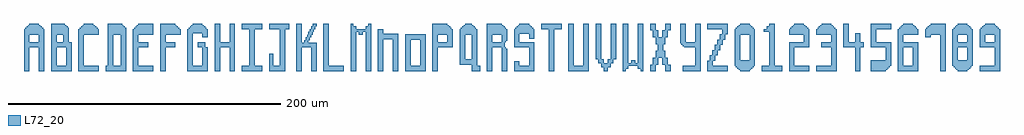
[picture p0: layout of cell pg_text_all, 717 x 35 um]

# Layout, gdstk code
import gdstk
lib = gdstk.Library(unit=1e-6, precision=1e-09)
def R(c, l, rs):  # rectangles x0, y0, x1, y1
    for r in rs: c.add(gdstk.rectangle(r[:2], r[2:], *l))
def A(c, l, x, y, w, h, nx, ny, dx, dy):  # array of equal rectangles
    R(c, l, [(x+i*dx, y+j*dy, x+i*dx+w, y+j*dy+h) for i in range(nx) for j in range(ny)])
def P(c, l, *ps):  # polygons
    for p in ps: c.add(gdstk.Polygon(p, *l))
L72_20 = (72, 20)

pg_text_c = lib.new_cell('pg_text_C')
R(pg_text_c, L72_20, [(0,0,15,4), (0,4,4,27), (0,27,15,31), (1,31,14,32), (2,32,13,33), (3,33,12,34), (4,34,11,35)])

pg_text_d = lib.new_cell('pg_text_D')
R(pg_text_d, L72_20, [(0,0,15,4), (1.5,4,5.5,27), (11,4,15,27), (1.5,27,15,31), (1.5,27,15,32), (1.5,32,14,33), (1.5,33,13,34), (1.5,34,12,35)])

pg_text_e = lib.new_cell('pg_text_E')
R(pg_text_e, L72_20, [(0,0,15,4), (0,4,4,27), (4,17.5,11.25,21.5), (0,27,15,31), (1,31,15,32), (2,32,15,33), (3,33,15,34), (4,34,15,35)])

pg_text_f = lib.new_cell('pg_text_F')
R(pg_text_f, L72_20, [(0,0,4,27), (4,17.5,11.25,21.5), (0,27,15,31), (0,31,14,32), (0,32,13,33), (0,33,12,34), (0,34,11,35)])

pg_text_g = lib.new_cell('pg_text_G')
R(pg_text_g, L72_20, [(0,0,15,4), (0,4,4,28), (11,4,15,17.5), (7.5,17.5,13,21.5), (11,25,15,28), (0,28,15,31), (1,31,14,32), (2,32,13,33), (3,33,12,34), (4,34,11,35)])

pg_text_h = lib.new_cell('pg_text_H')
R(pg_text_h, L72_20, [(0,0,4,35), (11,0,15,35), (4,17.5,11,21.5)])

pg_text_i = lib.new_cell('pg_text_I')
R(pg_text_i, L72_20, [(0,0,15,4), (5.5,4,9.5,31), (0,31,15,35)])

pg_text_j = lib.new_cell('pg_text_J')
R(pg_text_j, L72_20, [(0,0,8,4), (8,0,12,31), (0,4,3,13), (0,31,15,35)])

pg_text_k = lib.new_cell('pg_text_K')
R(pg_text_k, L72_20, [(0,0,4,35), (11,0,15,17.5), (4,17.5,15,21), (6,21,9,23), (7,23,10,25), (8,25,11,27), (9,27,12,29), (10,29,13,31), (11,31,14,33), (12,33,15,35)])

pg_text_l = lib.new_cell('pg_text_L')
R(pg_text_l, L72_20, [(0,0,4,35), (4,0,15,4)])

pg_text_m = lib.new_cell('pg_text_M')
R(pg_text_m, L72_20, [(6,27,9,29), (4,29,11,31)])
P(pg_text_m, L72_20, [(4,0),(0,0),(0,35),(2,35),(2,33),(4,33)],
  [(15,35),(13,35),(13,33),(11,33),(11,0),(15,0)])

pg_text_n = lib.new_cell('pg_text_N')
R(pg_text_n, L72_20, [(0,0,4,31), (11,0,15,27.5), (4,23.5,11,27.5)])

pg_text_o = lib.new_cell('pg_text_O')
R(pg_text_o, L72_20, [(0,0,4,27.16), (4,0,11,4), (11,0,15,27.16), (4,23.16,11,27.16)])

pg_text_p = lib.new_cell('pg_text_P')
R(pg_text_p, L72_20, [(0,0,4,27), (4,17.5,15,21.5), (11,21.5,15,27), (0,27,15,31), (0,31,14,32), (0,32,13,33), (0,33,12,34), (0,34,11,35)])

pg_text_q = lib.new_cell('pg_text_Q')
R(pg_text_q, L72_20, [(9,0,13,27), (13,0,15,4), (0,5,9,9), (0,9,4,27), (0,27,13,31), (1,31,12,32), (2,32,11,33), (3,33,10,34), (4,34,9,35)])

pg_text_r = lib.new_cell('pg_text_R')
R(pg_text_r, L72_20, [(0,0,4,27), (11,0,15,16.5), (11,16.5,14,17.5), (4,17.5,13,21.5), (11,21.5,14,22.5), (11,22.5,15,27), (0,27,15,31), (0,31,14,32), (0,32,13,33), (0,33,12,34), (0,34,11,35)])

pg_text_s = lib.new_cell('pg_text_S')
R(pg_text_s, L72_20, [(0,0,15,4), (0,4,4,7.5), (11,4,15,17.5), (0,17.5,15,21.5), (0,21.5,4,27.5), (11,24,15,27.5), (0,27.5,15,31), (1,31,14,32), (2,32,13,33), (3,33,12,34), (4,34,11,35)])

pg_text_t = lib.new_cell('pg_text_T')
R(pg_text_t, L72_20, [(5.5,0,9.5,31), (0,31,15,35)])

pg_text_u = lib.new_cell('pg_text_U')
R(pg_text_u, L72_20, [(0,0,4,35), (4,0,11,4), (11,0,15,35)])

pg_text_v = lib.new_cell('pg_text_V')
R(pg_text_v, L72_20, [(6,0,9,3), (4,3,11,6), (2,6,6,9), (9,6,13,9), (11,9,15,35)])
P(pg_text_v, L72_20, [(4,35),(0,35),(0,9),(3.99,9),(3.99,19.5),(4,19.5)])

pg_text_w = lib.new_cell('pg_text_W')
R(pg_text_w, L72_20, [(4,4,11,6), (6,6,9,8)])
P(pg_text_w, L72_20, [(4,35),(0,35),(0,0),(2,0),(2,2),(4,2)],
  [(15,35),(11,35),(11,2),(13,2),(13,0),(15,0)])

pg_text_x = lib.new_cell('pg_text_X')
R(pg_text_x, L72_20, [(0,0,4,5), (11,0,15,5), (2,5,6,10), (9,5,13,10), (4,10,11,15), (5.5,15,9.5,20), (4,20,11,25), (2,25,6,30), (9,25,13,30), (0,30,4,35), (11,30,15,35)])

pg_text_y = lib.new_cell('pg_text_Y')
R(pg_text_y, L72_20, [(2,0,11,4), (11,0,15,35), (3,17.5,11,18.5), (2,18.5,11,19.5), (1,19.5,11,20.5), (0,20.5,11,21.5), (0,21.5,4,35)])

pg_text_z = lib.new_cell('pg_text_Z')
R(pg_text_z, L72_20, [(0,0,15,4), (0,4,4,7.86), (1.83,7.86,5.835,11.72), (3.66,11.72,7.665,15.58), (5.49,15.58,9.495,19.44), (7.32,19.44,11.325,23.3), (9.15,23.3,13.155,27.16), (10.98,27.16,15,31), (0,31,15,35)])

pg_text_0 = lib.new_cell('pg_text_0')
R(pg_text_0, L72_20, [(4,0,11,1), (3,1,12,2), (2,2,13,3), (1,3,14,4), (0,4,15,8), (0,8,4,27), (11,8,15,27), (0,27,15,31), (1,31,14,32), (2,32,13,33), (3,33,12,34), (4,34,11,35)])

pg_text_1 = lib.new_cell('pg_text_1')
R(pg_text_1, L72_20, [(0,0,15,4), (5.5,4,9.5,29), (1.5,29,9.5,31), (3.5,31,9.5,33), (5.5,33,9.5,35)])

pg_text_2 = lib.new_cell('pg_text_2')
R(pg_text_2, L72_20, [(0,0,15,4), (0,4,4,17.5), (0,17.5,15,21.5), (11,21.5,15,27), (0,27,15,31), (1,31,14,32), (2,32,13,33), (3,33,12,34), (4,34,11,35)])

pg_text_3 = lib.new_cell('pg_text_3')
R(pg_text_3, L72_20, [(0,0,15,4), (11,4,15,27), (3.75,17.5,11,21.5), (0,27,15,31), (1,31,14,32), (2,32,13,33), (3,33,12,34), (4,34,11,35)])

pg_text_4 = lib.new_cell('pg_text_4')
R(pg_text_4, L72_20, [(8.5,0,12.5,28), (0,17.5,8.5,21.5), (12.5,17.5,15,21.5), (0,21.5,4,35)])

pg_text_5 = lib.new_cell('pg_text_5')
A(pg_text_5, L72_20, 0, 4, 15, 4, 1, 3, 0, 13.5)
R(pg_text_5, L72_20, [(0,0,11,1), (0,1,12,2), (0,2,13,3), (0,3,14,4), (11,4,15,17.5), (0,21.5,4,31)])

pg_text_6 = lib.new_cell('pg_text_6')
R(pg_text_6, L72_20, [(0,0,15,4), (0,4,4,27), (11,4,15,17.5), (4,17.5,15,21.5), (0,27,15,31), (1,31,14,32), (2,32,13,33), (3,33,12,34), (4,34,11,35)])

pg_text_7 = lib.new_cell('pg_text_7')
R(pg_text_7, L72_20, [(11,0,15,27), (0,25,4,27), (0,27,15,31), (1,31,15,32), (2,32,15,33), (3,33,15,34), (4,34,15,35)])

pg_text_8 = lib.new_cell('pg_text_8')
R(pg_text_8, L72_20, [(4,0,11,1), (3,1,12,2), (2,2,13,3), (1,3,14,4), (0,4,15,8), (0,8,4,27), (11,8,15,27), (4,17.5,11,21.5), (0,27,15,31), (1,31,14,32), (2,32,13,33), (3,33,12,34), (4,34,11,35)])

pg_text_9 = lib.new_cell('pg_text_9')
R(pg_text_9, L72_20, [(0,0,15,4), (11,4,15,27), (0,17.5,11,21.5), (0,21.5,4,27), (0,27,15,31), (1,31,14,32), (2,32,13,33), (3,33,12,34), (4,34,11,35)])

pg_text_a = lib.new_cell('pg_text_A')
R(pg_text_a, L72_20, [(0,0,4,27), (11,0,15,27), (4,17.5,11,21.5), (0,27,15,31), (1,31,14,32), (2,32,13,33), (3,33,12,34), (4,34,11,35)])

pg_text_b = lib.new_cell('pg_text_B')
R(pg_text_b, L72_20, [(0,0,4,27), (4,0,11,4), (11,0,15,17.5), (4,17.5,15,21.5), (9,21.5,13,27), (0,27,13,31), (0,31,13,32), (0,32,12,33), (0,33,11,34), (0,34,10,35)])

pg_text_all = lib.new_cell('pg_text_all')
pg_text_all.add(gdstk.Reference(pg_text_c, (40,0)))
pg_text_all.add(gdstk.Reference(pg_text_d, (60,0)))
pg_text_all.add(gdstk.Reference(pg_text_e, (80,0)))
pg_text_all.add(gdstk.Reference(pg_text_f, (100,0)))
pg_text_all.add(gdstk.Reference(pg_text_g, (120,0)))
pg_text_all.add(gdstk.Reference(pg_text_h, (140,0)))
pg_text_all.add(gdstk.Reference(pg_text_i, (160,0)))
pg_text_all.add(gdstk.Reference(pg_text_j, (180,0)))
pg_text_all.add(gdstk.Reference(pg_text_k, (200,0)))
pg_text_all.add(gdstk.Reference(pg_text_l, (220,0)))
pg_text_all.add(gdstk.Reference(pg_text_m, (240,0)))
pg_text_all.add(gdstk.Reference(pg_text_n, (260,0)))
pg_text_all.add(gdstk.Reference(pg_text_o, (280,0)))
pg_text_all.add(gdstk.Reference(pg_text_p, (300,0)))
pg_text_all.add(gdstk.Reference(pg_text_q, (320,0)))
pg_text_all.add(gdstk.Reference(pg_text_r, (340,0)))
pg_text_all.add(gdstk.Reference(pg_text_s, (360,0)))
pg_text_all.add(gdstk.Reference(pg_text_t, (380,0)))
pg_text_all.add(gdstk.Reference(pg_text_u, (400,0)))
pg_text_all.add(gdstk.Reference(pg_text_v, (420,0)))
pg_text_all.add(gdstk.Reference(pg_text_w, (440,0)))
pg_text_all.add(gdstk.Reference(pg_text_x, (460,0)))
pg_text_all.add(gdstk.Reference(pg_text_y, (482,0)))
pg_text_all.add(gdstk.Reference(pg_text_z, (502,0)))
pg_text_all.add(gdstk.Reference(pg_text_0, (522,0)))
pg_text_all.add(gdstk.Reference(pg_text_1, (542,0)))
pg_text_all.add(gdstk.Reference(pg_text_2, (562,0)))
pg_text_all.add(gdstk.Reference(pg_text_3, (582,0)))
pg_text_all.add(gdstk.Reference(pg_text_4, (602,0)))
pg_text_all.add(gdstk.Reference(pg_text_5, (622,0)))
pg_text_all.add(gdstk.Reference(pg_text_6, (642,0)))
pg_text_all.add(gdstk.Reference(pg_text_7, (662,0)))
pg_text_all.add(gdstk.Reference(pg_text_8, (682,0)))
pg_text_all.add(gdstk.Reference(pg_text_9, (702,0)))
pg_text_all.add(gdstk.Reference(pg_text_a, (0,0)))
pg_text_all.add(gdstk.Reference(pg_text_b, (20,0)))

lib.write_gds('pg_text_all.gds')
